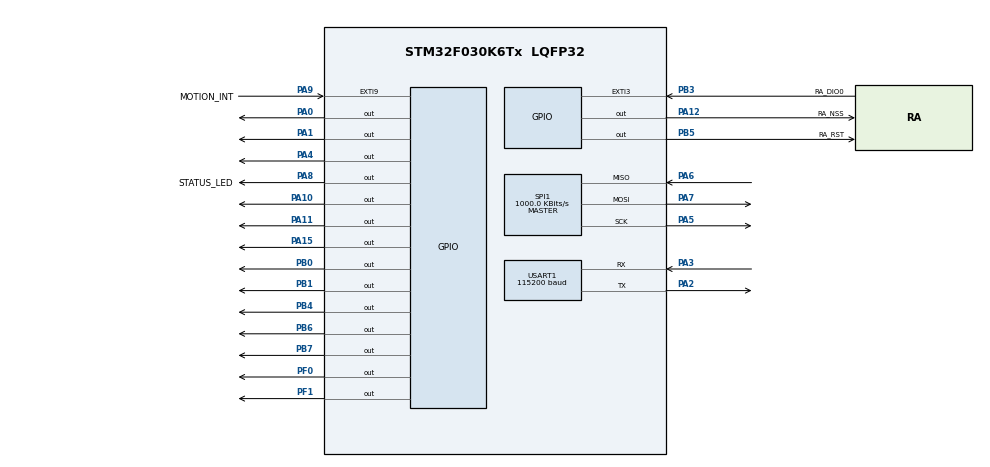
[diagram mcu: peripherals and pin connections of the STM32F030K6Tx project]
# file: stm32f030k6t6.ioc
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Mcu.Family=STM32F0
Mcu.Name=STM32F030K6Tx
Mcu.Package=LQFP32
NVIC.EXTI4_15_IRQn=true\:0\:0\:false\:false\:true\:true\:true\:true
PA0.Signal=GPIO_Output
PA1.Signal=GPIO_Output
PA10.Signal=GPIO_Output
PA11.GPIO_Speed=GPIO_SPEED_FREQ_LOW
PA11.Signal=GPIO_Output
PA12.GPIO_Label=RA_NSS
PA12.GPIO_Speed=GPIO_SPEED_FREQ_HIGH
PA12.PinState=GPIO_PIN_SET
PA12.Signal=GPIO_Output
PA13.Mode=Serial_Wire
PA13.Signal=SYS_SWDIO
PA14.Mode=Serial_Wire
PA14.Signal=SYS_SWCLK
PA15.Signal=GPIO_Output
PA2.Mode=Asynchronous
PA2.Signal=USART1_TX
PA3.Mode=Asynchronous
PA3.Signal=USART1_RX
PA4.Signal=GPIO_Output
PA5.Mode=Full_Duplex_Master
PA5.Signal=SPI1_SCK
PA6.Mode=Full_Duplex_Master
PA6.Signal=SPI1_MISO
PA7.Mode=Full_Duplex_Master
PA7.Signal=SPI1_MOSI
PA8.GPIO_Label=STATUS_LED
PA8.Signal=GPIO_Output
PA9.GPIO_Label=MOTION_INT
PA9.Signal=GPXTI9
PB0.Signal=GPIO_Output
PB1.Signal=GPIO_Output
PB3.GPIO_Label=RA_DIO0
PB3.Signal=GPXTI3
PB4.Signal=GPIO_Output
PB5.GPIO_Label=RA_RST
PB5.PinState=GPIO_PIN_SET
PB5.Signal=GPIO_Output
PB6.Signal=GPIO_Output
PB7.Signal=GPIO_Output
PF0-OSC_IN.Signal=GPIO_Output
PF1-OSC_OUT.Signal=GPIO_Output
ProjectManager.HeapSize=0x200
ProjectManager.StackSize=0x400
ProjectManager.TargetToolchain=Makefile
SPI1.BaudRatePrescaler=SPI_BAUDRATEPRESCALER_8
SPI1.CalculateBaudRate=1000.0 KBits/s
SPI1.DataSize=SPI_DATASIZE_8BIT
SPI1.Direction=SPI_DIRECTION_2LINES
SPI1.Mode=SPI_MODE_MASTER
SPI1.VirtualType=VM_MASTER
USART1.BaudRate=115200
USART1.VirtualMode-Asynchronous=VM_ASYNC
board=custom

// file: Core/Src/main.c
/* USER CODE BEGIN Header */
/**
 ******************************************************************************
 * @file           : main.c
 * @brief          : Main program body
 ******************************************************************************
 * @attention
 *
 * Copyright (c) 2023 STMicroelectronics.
 * All rights reserved.
 *
 * This software is licensed under terms that can be found in the LICENSE file
 * in the root directory of this software component.
 * If no LICENSE file comes with this software, it is provided AS-IS.
 *
 ******************************************************************************
 */
/* USER CODE END Header */
#include "main.h"

/* USER CODE BEGIN Includes */
#include <stdio.h>
#include <string.h>
#include <stdlib.h>
#include <LoRa.h>
/* USER CODE END Includes */

/* USER CODE BEGIN PTD */
typedef struct LoRaMessage_t
{
  uint8_t header;
  uint8_t cmd;
  uint8_t cnt;
  int32_t seed;
  uint8_t reserved;
} LoRaMessage;

enum CommandType
{
  CMD_PING,
  CMD_ALERT,
};

enum InterruptReason
{
  IRQ_NO_REASON,
  IRQ_MOTION,
  IRQ_PING,
};

/* USER CODE END PTD */

/* USER CODE BEGIN PD */
#define DEFAULT_HEADER 0x77
/* USER CODE END PD */

SPI_HandleTypeDef hspi1;

UART_HandleTypeDef huart1;

/* USER CODE BEGIN PV */
LoRa lora;
volatile uint8_t interrupt_reason = IRQ_NO_REASON;
/* USER CODE END PV */

void SystemClock_Config(void);
static void MX_GPIO_Init(void);
static void MX_SPI1_Init(void);
static void MX_USART1_UART_Init(void);

/* USER CODE BEGIN 0 */
void uart_log(char *msg)
{
  HAL_UART_Transmit(&huart1, (uint8_t *)msg, strlen(msg), HAL_MAX_DELAY);
}

void enter_stop_mode()
{
  HAL_SuspendTick();
  HAL_PWR_EnterSTOPMode(PWR_LOWPOWERREGULATOR_ON, PWR_STOPENTRY_WFI);
}

void exit_stop_mode()
{
  SystemClock_Config();
  HAL_ResumeTick();
}

void enter_sleep_mode()
{
  HAL_SuspendTick();
  HAL_PWR_EnterSLEEPMode(PWR_MAINREGULATOR_ON, PWR_SLEEPENTRY_WFI);
}

void exit_sleep_mode()
{
  HAL_ResumeTick();
}

LoRaMessage prepare_lora_message(uint8_t cmd)
{
  LoRaMessage msg;
  msg.header = DEFAULT_HEADER;
  msg.seed = rand();
  msg.cnt = 0;
  msg.cmd = cmd;
  msg.reserved = 0;
  return msg;
}

uint8_t transmit_lora_message(LoRaMessage *msg, uint8_t cnt)
{
  uint8_t result = 1;
  for (uint8_t i = 0; i < cnt; i++)
  {
    msg->cnt = i;
    result = LoRa_transmit(&lora, (uint8_t *)msg, sizeof(LoRaMessage), 500);
  }
  return result;
}

/* USER CODE END 0 */

int main(void)
{

  /* MCU Configuration--------------------------------------------------------*/

  /* Reset of all peripherals, Initializes the Flash interface and the Systick. */
  HAL_Init();

  /* Configure the system clock */
  SystemClock_Config();

  /* Initialize all configured peripherals */
  MX_GPIO_Init();
  MX_SPI1_Init();
  MX_USART1_UART_Init();
  /* USER CODE BEGIN 2 */
  uart_log("\r\nARS v1.0\r\n");
  uart_log("Initializing LoRa module...\r\n");
  lora = newLoRa();
  lora.hSPIx = &hspi1;
  lora.CS_port = RA_NSS_GPIO_Port;
  lora.CS_pin = RA_NSS_Pin;
  lora.reset_port = RA_RST_GPIO_Port;
  lora.reset_pin = RA_RST_Pin;
  lora.DIO0_port = RA_DIO0_GPIO_Port;
  lora.DIO0_pin = RA_DIO0_Pin;

  LoRa_reset(&lora);
  uint16_t lora_init_result = LoRa_init(&lora);
  if (lora_init_result != LORA_OK)
  {
    char msg_buf[50];
    sprintf(msg_buf, "LoRa init error 0x%X\r\n", lora_init_result);
    uart_log(msg_buf);
    Error_Handler();
  }
  uart_log("LoRa initialized\r\n");
  /* USER CODE END 2 */

  /* Infinite loop */
  /* USER CODE BEGIN WHILE */
  while (1)
  {
    switch (interrupt_reason)
    {
    case IRQ_MOTION:
    {
      LoRaMessage msg = prepare_lora_message(CMD_ALERT);
      if (!transmit_lora_message(&msg, 5))
      {
        uart_log("Transmit timeout error\r\n");
      }
      uart_log("Motion detected, alert sent\r\n");
      break;
    }
    case IRQ_PING:
    default:
    {
      LoRaMessage msg = prepare_lora_message(CMD_PING);
      if (!transmit_lora_message(&msg, 5))
      {
        uart_log("Transmit timeout error\r\n");
      }
      uart_log("PING sent\r\n");
      break;
    }
    }
    interrupt_reason = IRQ_NO_REASON;
    enter_stop_mode();
    /* USER CODE END WHILE */

  }
}

void SystemClock_Config(void)
{
  RCC_OscInitTypeDef RCC_OscInitStruct = {0};
  RCC_ClkInitTypeDef RCC_ClkInitStruct = {0};
  RCC_PeriphCLKInitTypeDef PeriphClkInit = {0};

  /** Initializes the RCC Oscillators according to the specified parameters
   * in the RCC_OscInitTypeDef structure.
   */
  RCC_OscInitStruct.OscillatorType = RCC_OSCILLATORTYPE_HSI;
  RCC_OscInitStruct.HSIState = RCC_HSI_ON;
  RCC_OscInitStruct.HSICalibrationValue = RCC_HSICALIBRATION_DEFAULT;
  RCC_OscInitStruct.PLL.PLLState = RCC_PLL_NONE;
  if (HAL_RCC_OscConfig(&RCC_OscInitStruct) != HAL_OK)
  {
    Error_Handler();
  }

  /** Initializes the CPU, AHB and APB buses clocks
   */
  RCC_ClkInitStruct.ClockType = RCC_CLOCKTYPE_HCLK | RCC_CLOCKTYPE_SYSCLK | RCC_CLOCKTYPE_PCLK1;
  RCC_ClkInitStruct.SYSCLKSource = RCC_SYSCLKSOURCE_HSI;
  RCC_ClkInitStruct.AHBCLKDivider = RCC_SYSCLK_DIV1;
  RCC_ClkInitStruct.APB1CLKDivider = RCC_HCLK_DIV1;

  if (HAL_RCC_ClockConfig(&RCC_ClkInitStruct, FLASH_LATENCY_0) != HAL_OK)
  {
    Error_Handler();
  }
  PeriphClkInit.PeriphClockSelection = RCC_PERIPHCLK_USART1;
  PeriphClkInit.Usart1ClockSelection = RCC_USART1CLKSOURCE_PCLK1;
  if (HAL_RCCEx_PeriphCLKConfig(&PeriphClkInit) != HAL_OK)
  {
    Error_Handler();
  }
}

static void MX_SPI1_Init(void)
{

  /* SPI1 parameter configuration*/
  hspi1.Instance = SPI1;
  hspi1.Init.Mode = SPI_MODE_MASTER;
  hspi1.Init.Direction = SPI_DIRECTION_2LINES;
  hspi1.Init.DataSize = SPI_DATASIZE_8BIT;
  hspi1.Init.CLKPolarity = SPI_POLARITY_LOW;
  hspi1.Init.CLKPhase = SPI_PHASE_1EDGE;
  hspi1.Init.NSS = SPI_NSS_SOFT;
  hspi1.Init.BaudRatePrescaler = SPI_BAUDRATEPRESCALER_8;
  hspi1.Init.FirstBit = SPI_FIRSTBIT_MSB;
  hspi1.Init.TIMode = SPI_TIMODE_DISABLE;
  hspi1.Init.CRCCalculation = SPI_CRCCALCULATION_DISABLE;
  hspi1.Init.CRCPolynomial = 7;
  hspi1.Init.CRCLength = SPI_CRC_LENGTH_DATASIZE;
  hspi1.Init.NSSPMode = SPI_NSS_PULSE_ENABLE;
  if (HAL_SPI_Init(&hspi1) != HAL_OK)
  {
    Error_Handler();
  }
}

static void MX_USART1_UART_Init(void)
{

  huart1.Instance = USART1;
  huart1.Init.BaudRate = 115200;
  huart1.Init.WordLength = UART_WORDLENGTH_8B;
  huart1.Init.StopBits = UART_STOPBITS_1;
  huart1.Init.Parity = UART_PARITY_NONE;
  huart1.Init.Mode = UART_MODE_TX_RX;
  huart1.Init.HwFlowCtl = UART_HWCONTROL_NONE;
  huart1.Init.OverSampling = UART_OVERSAMPLING_16;
  huart1.Init.OneBitSampling = UART_ONE_BIT_SAMPLE_DISABLE;
  huart1.AdvancedInit.AdvFeatureInit = UART_ADVFEATURE_NO_INIT;
  if (HAL_UART_Init(&huart1) != HAL_OK)
  {
    Error_Handler();
  }
}

static void MX_GPIO_Init(void)
{
  GPIO_InitTypeDef GPIO_InitStruct = {0};

  /* GPIO Ports Clock Enable */
  __HAL_RCC_GPIOF_CLK_ENABLE();
  __HAL_RCC_GPIOA_CLK_ENABLE();
  __HAL_RCC_GPIOB_CLK_ENABLE();

  /*Configure GPIO pin Output Level */
  HAL_GPIO_WritePin(GPIOF, GPIO_PIN_0 | GPIO_PIN_1, GPIO_PIN_RESET);

  /*Configure GPIO pin Output Level */
  HAL_GPIO_WritePin(GPIOA, GPIO_PIN_0 | GPIO_PIN_1 | GPIO_PIN_4 | STATUS_LED_Pin | GPIO_PIN_10 | GPIO_PIN_11 | GPIO_PIN_15, GPIO_PIN_RESET);

  /*Configure GPIO pin Output Level */
  HAL_GPIO_WritePin(GPIOB, GPIO_PIN_0 | GPIO_PIN_1 | GPIO_PIN_4 | GPIO_PIN_6 | GPIO_PIN_7, GPIO_PIN_RESET);

  /*Configure GPIO pin Output Level */
  HAL_GPIO_WritePin(RA_NSS_GPIO_Port, RA_NSS_Pin, GPIO_PIN_SET);

  /*Configure GPIO pin Output Level */
  HAL_GPIO_WritePin(RA_RST_GPIO_Port, RA_RST_Pin, GPIO_PIN_SET);

  /*Configure GPIO pins : PF0 PF1 */
  GPIO_InitStruct.Pin = GPIO_PIN_0 | GPIO_PIN_1;
  GPIO_InitStruct.Mode = GPIO_MODE_OUTPUT_PP;
  GPIO_InitStruct.Pull = GPIO_NOPULL;
  GPIO_InitStruct.Speed = GPIO_SPEED_FREQ_LOW;
  HAL_GPIO_Init(GPIOF, &GPIO_InitStruct);

  /*Configure GPIO pins : PA0 PA1 PA4 STATUS_LED_Pin
                           PA10 PA11 PA15 */
  GPIO_InitStruct.Pin = GPIO_PIN_0 | GPIO_PIN_1 | GPIO_PIN_4 | STATUS_LED_Pin | GPIO_PIN_10 | GPIO_PIN_11 | GPIO_PIN_15;
  GPIO_InitStruct.Mode = GPIO_MODE_OUTPUT_PP;
  GPIO_InitStruct.Pull = GPIO_NOPULL;
  GPIO_InitStruct.Speed = GPIO_SPEED_FREQ_LOW;
  HAL_GPIO_Init(GPIOA, &GPIO_InitStruct);

  /*Configure GPIO pins : PB0 PB1 PB4 RA_RST_Pin
                           PB6 PB7 */
  GPIO_InitStruct.Pin = GPIO_PIN_0 | GPIO_PIN_1 | GPIO_PIN_4 | RA_RST_Pin | GPIO_PIN_6 | GPIO_PIN_7;
  GPIO_InitStruct.Mode = GPIO_MODE_OUTPUT_PP;
  GPIO_InitStruct.Pull = GPIO_NOPULL;
  GPIO_InitStruct.Speed = GPIO_SPEED_FREQ_LOW;
  HAL_GPIO_Init(GPIOB, &GPIO_InitStruct);

  /*Configure GPIO pin : MOTION_INT_Pin */
  GPIO_InitStruct.Pin = MOTION_INT_Pin;
  GPIO_InitStruct.Mode = GPIO_MODE_IT_RISING;
  GPIO_InitStruct.Pull = GPIO_NOPULL;
  HAL_GPIO_Init(MOTION_INT_GPIO_Port, &GPIO_InitStruct);

  /*Configure GPIO pin : RA_NSS_Pin */
  GPIO_InitStruct.Pin = RA_NSS_Pin;
  GPIO_InitStruct.Mode = GPIO_MODE_OUTPUT_PP;
  GPIO_InitStruct.Pull = GPIO_NOPULL;
  GPIO_InitStruct.Speed = GPIO_SPEED_FREQ_HIGH;
  HAL_GPIO_Init(RA_NSS_GPIO_Port, &GPIO_InitStruct);

  /*Configure GPIO pin : RA_DIO0_Pin */
  GPIO_InitStruct.Pin = RA_DIO0_Pin;
  GPIO_InitStruct.Mode = GPIO_MODE_IT_RISING;
  GPIO_InitStruct.Pull = GPIO_NOPULL;
  HAL_GPIO_Init(RA_DIO0_GPIO_Port, &GPIO_InitStruct);

  /* EXTI interrupt init*/
  HAL_NVIC_SetPriority(EXTI4_15_IRQn, 0, 0);
  HAL_NVIC_EnableIRQ(EXTI4_15_IRQn);

}

/* USER CODE BEGIN 4 */
void HAL_GPIO_EXTI_Callback(uint16_t GPIO_Pin)
{
  exit_stop_mode();
  switch (GPIO_Pin)
  {
  case RA_DIO0_Pin:
    /* code */
    break;
  case MOTION_INT_Pin:
    interrupt_reason = IRQ_MOTION;
    break;
  default:
    break;
  }
}

/* USER CODE END 4 */

void Error_Handler(void)
{
  __disable_irq();
  while (1)
  {
  }
}
